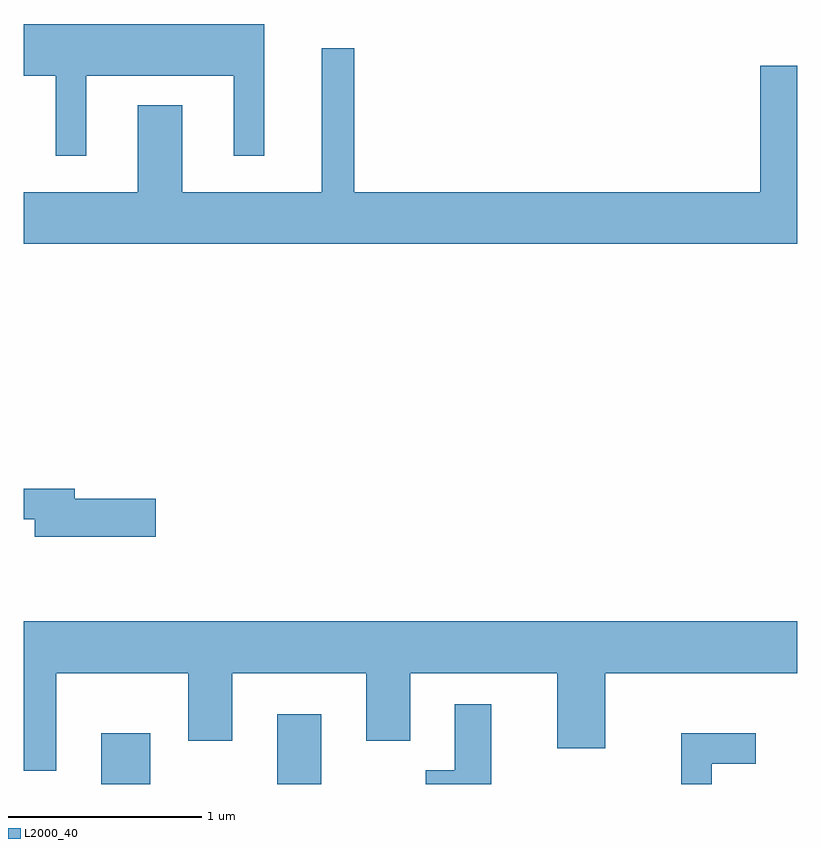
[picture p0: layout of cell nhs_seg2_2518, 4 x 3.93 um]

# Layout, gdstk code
import gdstk
lib = gdstk.Library(unit=1e-6, precision=1e-09)
def R(c, l, rs):  # rectangles x0, y0, x1, y1
    for r in rs: c.add(gdstk.rectangle(r[:2], r[2:], *l))
def P(c, l, *ps):  # polygons
    for p in ps: c.add(gdstk.Polygon(p, *l))
L2000_40 = (2000, 40)

nhs_seg2_2518 = lib.new_cell('nhs_seg2_2518')
R(nhs_seg2_2518, L2000_40, [(260.011,987.802,260.264,988.064), (260.921,987.802,261.149,988.164)])
P(nhs_seg2_2518, L2000_40, [(259.934,991.466),(260.696,991.466),(260.696,991.053),(260.854,991.053),(260.854,991.734),(259.611,991.734),(259.611,991.466),(259.776,991.466),(259.776,991.053),(259.934,991.053)],
  [(263.611,991.519),(263.421,991.519),(263.421,990.864),(261.319,990.864),(261.319,991.608),(261.151,991.608),(261.151,990.864),(260.429,990.864),(260.429,991.314),(260.201,991.314),(260.201,990.864),(259.611,990.864),(259.611,990.596),(263.611,990.596)],
  [(260.294,989.279),(259.874,989.279),(259.874,989.329),(259.611,989.329),(259.611,989.171),(259.666,989.171),(259.666,989.081),(260.294,989.081)],
  [(259.779,988.376),(260.461,988.376),(260.461,988.026),(260.689,988.026),(260.689,988.376),(261.381,988.376),(261.381,988.026),(261.609,988.026),(261.609,988.376),(262.371,988.376),(262.371,987.986),(262.619,987.986),(262.619,988.376),(263.611,988.376),(263.611,988.644),(259.611,988.644),(259.611,987.871),(259.779,987.871)],
  [(262.029,988.214),(261.841,988.214),(261.841,987.874),(261.691,987.874),(261.691,987.802),(262.029,987.802)],
  [(263.169,987.906),(263.398,987.906),(263.398,988.064),(263.011,988.064),(263.011,987.802),(263.169,987.802)])

lib.write_gds('nhs_seg2_2518.gds')
